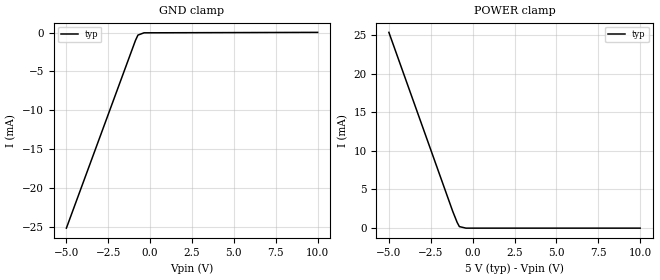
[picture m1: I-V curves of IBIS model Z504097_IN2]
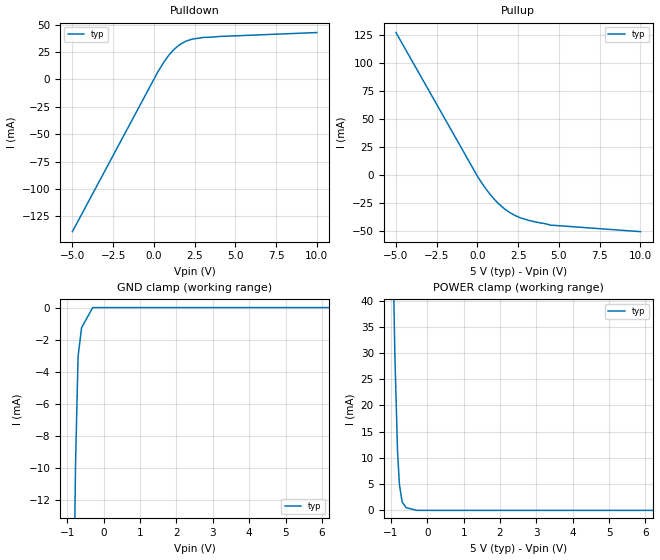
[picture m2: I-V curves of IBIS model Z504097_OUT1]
| YOU ARE ONLY AUTHORIZED TO USE THIS SOFTWARE
| ACCORDING TO LICENSOR'S LICENSE RESTRICTIONS.
[IBIS Ver] 3.1
[File Name] mc54hc4002j.ibs
[File Rev] 2.0
[Source] Measured and created by ICX Technology
[Date] Friday 7/14/00 9:08:06 AM
[Copyright]
| (C) COPYRIGHT 1993-2000
| MENTOR GRAPHICS CORPORATION
| ICX STANDARD LIBRARY, ICX PROJECT MODELING,
| ICX CUSTOM MODELING, ICX VENDOR MODEL
| ALL RIGHTS RESERVED.
| THE FOLLOWING ARE TRADEMARKS OR SERVICE MARKS OF
| MENTOR GRAPHICS CORPORATION:ICX (R), ICX STANDARD
| LIBRARY(R), ICX PROJECT MODELING(R), ICX CUSTOM
| MODELING(R), qualityIBIS(TM), MODELVIEWER(TM),
| AND MODELEDITOR(TM)
| ALL COPIES OF SOFTWARE, INCLUDING BUT NOT LIMITED TO
| ANY MODIFICATIONS, ENHANCEMENTS OR DERIVATIVE WORKS,
| MUST CONTAIN ALL MENTOR GRAPHICS CORPORATION'S
| NOTICES AND LEGENDS, INCLUDING THOSE EMBEDDED IN
| SOFTWARE AND THOSE AFFIXED TO SOFTWARE MEDIUM
| AND CONTAINER, AS RECEIVED FROM MENTOR GRAPHICS
| CORPORATION.
|  ZAP Model Builder 2.7
[Component] MC54HC4002J
[Manufacturer] OnSemiconductor
[Package]
| variable   typ   min   max
R_pkg  .21ohms NA NA
L_pkg  4.543nH NA NA
C_pkg  1.8pF NA NA
[Pin] signal_name  model_name  R_pin  L_pin C_pin
1 Y Z504097_OUT1 .22 6.757n 2.434p
2 A Z504097_IN2 .212 4.757n 1.941p
3 B Z504097_IN2 .204 3.257n 1.448p
4 C Z504097_IN2 .196 2.257n .955p
5 D Z504097_IN2 .204 3.257n 1.448p
6 NC NC .212 4.757n 1.941p
7 GND GND .22 6.757n 2.434p
8 NC NC .22 6.757n 2.434p
9 A Z504097_IN2 .212 4.757n 1.941p
10 B Z504097_IN2 .204 3.257n 1.448p
11 C Z504097_IN2 .196 2.257n .955p
12 D Z504097_IN2 .204 3.257n 1.448p
13 Y Z504097_OUT1 .212 4.757n 1.941p
14 VCC POWER .22 6.757n 2.434p
| Models and submodels in the file (2): Z504097_IN2 (Input), Z504097_OUT1 (Output)
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| (C) COPYRIGHT 1993-2000
| MENTOR GRAPHICS CORPORATION
| ICX STANDARD LIBRARY, ICX PROJECT MODELING,
| ICX CUSTOM MODELING, ICX VENDOR MODEL
| ALL RIGHTS RESERVED.
| THE FOLLOWING ARE TRADEMARKS OR SERVICE MARKS OF
| MENTOR GRAPHICS CORPORATION:ICX (R), ICX STANDARD
| LIBRARY(R), ICX PROJECT MODELING(R), ICX CUSTOM
| MODELING(R), qualityIBIS(TM), MODELVIEWER(TM),
| AND MODELEDITOR(TM)
| ALL COPIES OF SOFTWARE, INCLUDING BUT NOT LIMITED TO
| ANY MODIFICATIONS, ENHANCEMENTS OR DERIVATIVE WORKS,
| MUST CONTAIN ALL MENTOR GRAPHICS CORPORATION'S
| NOTICES AND LEGENDS, INCLUDING THOSE EMBEDDED IN
| SOFTWARE AND THOSE AFFIXED TO SOFTWARE MEDIUM
| AND CONTAINER, AS RECEIVED FROM MENTOR GRAPHICS
| CORPORATION.
| Model Application Version 1.89 2/18/99.
[Model] Z504097_IN2
Model_type Input
Vinl = 1.000V
Vinh = 3.500V
C_comp 4.000pF NA NA
| variable typ   min   max
[Voltage Range] 5.000V NA NA
[GND Clamp Reference] 0.000V NA NA
[POWER Clamp Reference] 5.000V NA NA
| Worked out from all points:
|   GND clamp passes 1 mA (typ) near -0.87 V on its own axis
[GND Clamp]
-5V       -25.2mA    NA         NA
-877.9mV  -1.018mA   NA         NA
-727.7mV  -318.9uA   NA         NA
-363.8mV  -25.72uA   NA         NA
10V       31.26uA    NA         NA
[POWER Clamp]
-5V       25.33mA    NA         NA
-1.191V   2.187mA    NA         NA
-923mV    734.1uA    NA         NA
-791mV    199.2uA    NA         NA
-395.5mV  0A         NA         NA
10V       0A         NA         NA
| (C) COPYRIGHT 1993-2000
| MENTOR GRAPHICS CORPORATION
| ICX STANDARD LIBRARY, ICX PROJECT MODELING,
| ICX CUSTOM MODELING, ICX VENDOR MODEL
| ALL RIGHTS RESERVED.
| THE FOLLOWING ARE TRADEMARKS OR SERVICE MARKS OF
| MENTOR GRAPHICS CORPORATION:ICX (R), ICX STANDARD
| LIBRARY(R), ICX PROJECT MODELING(R), ICX CUSTOM
| MODELING(R), qualityIBIS(TM), MODELVIEWER(TM),
| AND MODELEDITOR(TM)
| ALL COPIES OF SOFTWARE, INCLUDING BUT NOT LIMITED TO
| ANY MODIFICATIONS, ENHANCEMENTS OR DERIVATIVE WORKS,
| MUST CONTAIN ALL MENTOR GRAPHICS CORPORATION'S
| NOTICES AND LEGENDS, INCLUDING THOSE EMBEDDED IN
| SOFTWARE AND THOSE AFFIXED TO SOFTWARE MEDIUM
| AND CONTAINER, AS RECEIVED FROM MENTOR GRAPHICS
| CORPORATION.
| Model Application Version 1.89 2/18/99.
[Model] Z504097_OUT1
Model_type Output
Vref=0.000V
Rref=500.0Mohms
Cref=50.00pF
Vmeas=2.500V
C_comp 8.000pF NA NA
| variable typ   min   max
[Voltage Range] 5.000V NA NA
[POWER Clamp Reference] 5.000V NA NA
[Pullup Reference] 5.000V NA NA
[Pulldown Reference] 0.000V NA NA
[GND Clamp Reference] 0.000V NA NA
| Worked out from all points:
|   slope of the pulldown table from 0 to 0.75 V, typ, clamps not added: 40.4 ohm
|   slope of the pullup table from 0 to 0.75 V, typ, clamps not added: 47.8 ohm
|   POWER clamp passes 1 mA (typ) near -0.63 V on its own axis
[GND Clamp]
-5V       -614.1mA   NA         NA
-1.133V   -72.85mA   NA         NA
-776.2mV  -9.727mA   NA         NA
-707.2mV  -3.047mA   NA         NA
-609.9mV  -1.255mA   NA         NA
-304.9mV  0A         NA         NA
10V       0A         NA         NA
[Pulldown]
-5V       -139mA     NA         NA
239.4mV   6.84mA     NA         NA
629.8mV   16.23mA    NA         NA
918mV     22.21mA    NA         NA
1.47V     30.49mA    NA         NA
2.16V     36.03mA    NA         NA
3.022V    38.39mA    NA         NA
10V       42.86mA    NA         NA
[Pullup]
-5V       127.6mA    NA         NA
40mV      -1.736mA   NA         NA
782mV     -17.01mA   NA         NA
1.271V    -24.88mA   NA         NA
1.629V    -29.47mA   NA         NA
2.041V    -33.67mA   NA         NA
2.656V    -38mA      NA         NA
4.427V    -44.29mA   NA         NA
10V       -50.19mA   NA         NA
[POWER Clamp]
-5V       1.979A     NA         NA
-1.074V   101.6mA    NA         NA
-894mV    29.75mA    NA         NA
-820mV    11.33mA    NA         NA
-768mV    4.926mA    NA         NA
-693mV    1.581mA    NA         NA
-581mV    505.9uA    NA         NA
-290.5mV  0A         NA         NA
10V       0A         NA         NA
[Ramp]
| variable typ min max
dV/dt_r 2.773/1.860n NA NA
dV/dt_f 2.773/1.832n NA NA
R_load = 500.0Ohms
